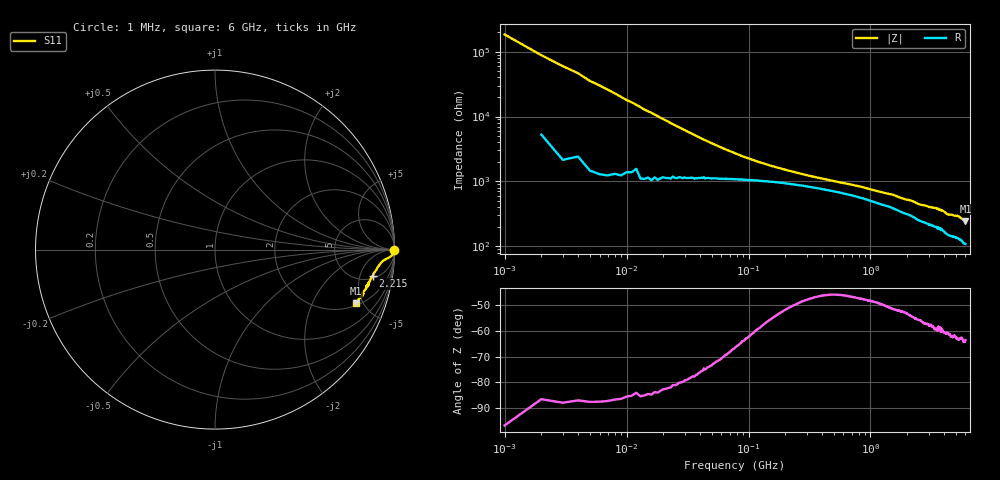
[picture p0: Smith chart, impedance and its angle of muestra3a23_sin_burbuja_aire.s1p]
! COPPER MOUNTAIN TECHNOLOGIES, R60, 23103002, 24.3.3/3.0
! Date: 23/10/2026 12:54:17
! Data: Format [Calibration Info]
! Frequency		S11: Re/Im RO
# HZ S RI R 50
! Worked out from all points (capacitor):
!   1280 points, 1 MHz to 6 GHz, reference 50 ohm
!   read as one part to ground: C = 879 fF near 7 MHz
!   lowest |Z| = 245 ohm at 6 GHz (marker M1)
!   S11 on the Smith chart (normalised r, x): 1 MHz: open; 2.215 GHz: 5.75, -8.09; 6 GHz: 2.18, -4.39
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1000000  1 -0.000541
7.2e7  0.9865 -0.0317
1e8  0.979 -0.0383
1.55e8  0.9665 -0.046
2.6e8  0.9506 -0.0539
3.9e8  0.9381 -0.0611
7.55e8  0.921 -0.0784
1.14e9  0.9064 -0.0974
1.505e9  0.8986 -0.1125
1.85e9  0.885 -0.1309
2.215e9  0.8784 -0.1458
2.255e9  0.8768 -0.1481
2.55e9  0.8656 -0.1653
2.76e9  0.8647 -0.1717
3.005e9  0.858 -0.1818
3.4e9  0.8576 -0.1922
3.755e9  0.8427 -0.2058
3.825e9  0.8445 -0.2047
3.99e9  0.8418 -0.216
4.185e9  0.8289 -0.2319
4.325e9  0.8236 -0.2379
4.505e9  0.8247 -0.2426
4.61e9  0.827 -0.2439
4.895e9  0.8191 -0.2494
5.255e9  0.8208 -0.2585
5.61e9  0.7991 -0.2763
5.84e9  0.7972 -0.2914
6e9  0.7835 -0.2989
